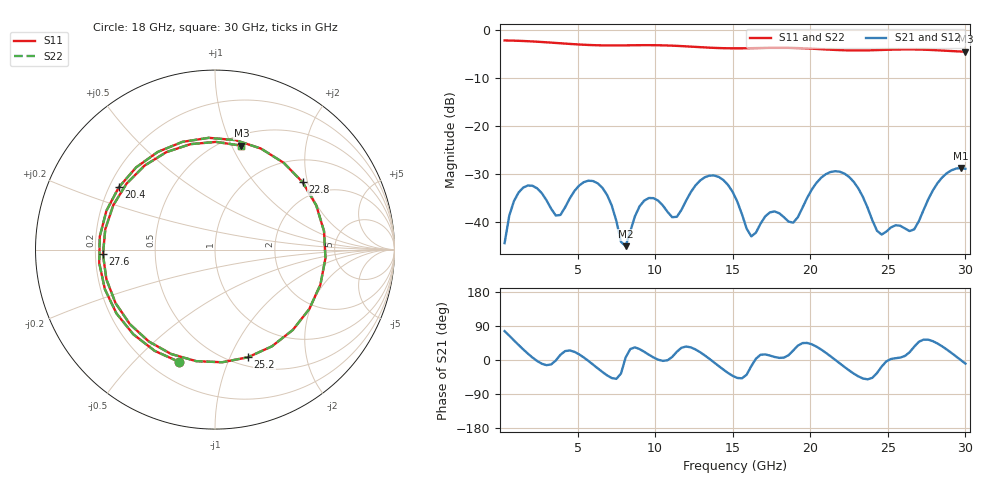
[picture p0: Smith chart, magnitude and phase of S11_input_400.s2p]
! Created Tue Apr 13 08:53:50 2021
# hz S ri R 50
! 2 Port Network Data from SP1.SP block
! freq  reS11  imS11  reS21  imS21  reS12  imS12  reS22  imS22
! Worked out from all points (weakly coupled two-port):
!   100 points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, 300 MHz to 30 GHz, reference 50 ohm
!   highest |S21| = -28.70 dB at 29.7 GHz (marker M1); lowest = -45.0 dB at 8.1 GHz (marker M2)
!   lowest |S11| = -4.5 dB at 30 GHz (marker M3), VSWR 3.97, Z = 30.3 + j54.5 ohm
!   |S11| at or under -10 dB: nowhere
!   |S22| runs from -4.5 to -2.1 dB; largest |S21 - S12| = 0
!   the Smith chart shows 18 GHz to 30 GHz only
!   S11 on the Smith chart (normalised r, x): 18 GHz: 0.31, -0.69; 20.4 GHz: 0.24, +0.28; 22.8 GHz: 1.54, +1.86; 25.2 GHz: 0.59, -1.17; 27.6 GHz: 0.23, -0.02; 30 GHz: 0.61, +1.09
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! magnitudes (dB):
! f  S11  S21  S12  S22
! 300 MHz  -2.1  -44.3  -44.3  -2.1
! 1.5 GHz  -2.2  -32.8  -32.8  -2.2
! 3.6 GHz  -2.7  -38.6  -38.6  -2.7
! 5.4 GHz  -3.0  -31.6  -31.6  -3.0
! 6.9 GHz  -3.2  -34.3  -34.3  -3.2
! 8.1 GHz  -3.2  -45.0  -45.0  -3.2
! 9 GHz  -3.1  -36.7  -36.7  -3.1
! 10.2 GHz  -3.1  -35.5  -35.5  -3.1
! 11.4 GHz  -3.3  -38.8  -38.8  -3.3
! 13.8 GHz  -3.7  -30.2  -30.2  -3.7
! 15.3 GHz  -3.8  -35.7  -35.7  -3.8
! 16.2 GHz  -3.7  -42.9  -42.9  -3.7
! 18 GHz  -3.6  -38.1  -38.1  -3.6
! 18.9 GHz  -3.7  -40.1  -40.1  -3.7
! 20.1 GHz  -3.8  -33.2  -33.2  -3.8
! 20.4 GHz  -3.9  -31.8  -31.8  -3.9
! 22.8 GHz  -4.2  -31.5  -31.5  -4.2
! 24.3 GHz  -4.1  -41.7  -41.7  -4.1
! 25.2 GHz  -4.1  -41.1  -41.1  -4.1
! 27.6 GHz  -4.1  -35.2  -35.2  -4.1
! 29.7 GHz  -4.4  -28.7  -28.7  -4.4
! 30 GHz  -4.5  -28.8  -28.8  -4.5
